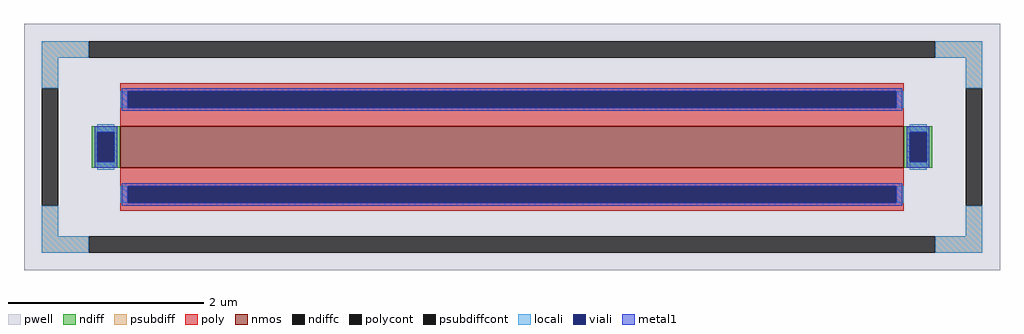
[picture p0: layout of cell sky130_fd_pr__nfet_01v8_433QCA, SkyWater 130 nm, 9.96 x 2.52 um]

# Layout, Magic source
magic
tech sky130A
<< pwell >>
rect -498 -126 498 126
<< nmos >>
rect -400 -21 400 21
<< ndiff >>
rect -429 15 -400 21
rect -429 -15 -423 15
rect -406 -15 -400 15
rect -429 -21 -400 -15
rect 400 15 429 21
rect 400 -15 406 15
rect 423 -15 429 15
rect 400 -21 429 -15
<< ndiffc >>
rect -423 -15 -406 15
rect 406 -15 423 15
<< psubdiff >>
rect -480 91 -432 108
rect 432 91 480 108
rect -480 60 -463 91
rect 463 60 480 91
rect -480 -91 -463 -60
rect 463 -91 480 -60
rect -480 -108 -432 -91
rect 432 -108 480 -91
<< psubdiffcont >>
rect -432 91 432 108
rect -480 -60 -463 60
rect 463 -60 480 60
rect -432 -108 432 -91
<< poly >>
rect -400 57 400 65
rect -400 40 -392 57
rect 392 40 400 57
rect -400 21 400 40
rect -400 -40 400 -21
rect -400 -57 -392 -40
rect 392 -57 400 -40
rect -400 -65 400 -57
<< polycont >>
rect -392 40 392 57
rect -392 -57 392 -40
<< locali >>
rect -480 91 -432 108
rect 432 91 480 108
rect -480 60 -463 91
rect 463 60 480 91
rect -400 40 -392 57
rect 392 40 400 57
rect -423 15 -406 23
rect -423 -23 -406 -15
rect 406 15 423 23
rect 406 -23 423 -15
rect -400 -57 -392 -40
rect 392 -57 400 -40
rect -480 -91 -463 -60
rect 463 -91 480 -60
rect -480 -108 -432 -91
rect 432 -108 480 -91
<< viali >>
rect -392 40 392 57
rect -423 -15 -406 15
rect 406 -15 423 15
rect -392 -57 392 -40
<< metal1 >>
rect -398 57 398 60
rect -398 40 -392 57
rect 392 40 398 57
rect -398 37 398 40
rect -426 15 -403 21
rect -426 -15 -423 15
rect -406 -15 -403 15
rect -426 -21 -403 -15
rect 403 15 426 21
rect 403 -15 406 15
rect 423 -15 426 15
rect 403 -21 426 -15
rect -398 -40 398 -37
rect -398 -57 -392 -40
rect 392 -57 398 -40
rect -398 -60 398 -57
<< properties >>
string FIXED_BBOX -471 -99 471 99
string gencell sky130_fd_pr__nfet_01v8
string library sky130
string parameters w 0.42 l 8.0 m 1 nf 1 diffcov 100 polycov 100 guard 1 glc 1 grc 1 gtc 1 gbc 1 tbcov 100 rlcov 100 topc 1 botc 1 poverlap 0 doverlap 1 lmin 0.15 wmin 0.42 compatible {sky130_fd_pr__nfet_01v8 sky130_fd_pr__nfet_01v8_lvt  sky130_fd_bs_flash__special_sonosfet_star  sky130_fd_pr__nfet_g5v0d10v5 sky130_fd_pr__nfet_05v0_nvt  sky130_fd_pr__nfet_03v3_nvt} full_metal 1 viasrc 100 viadrn 100 viagate 100 viagb 0 viagr 0 viagl 0 viagt 0
<< end >>
